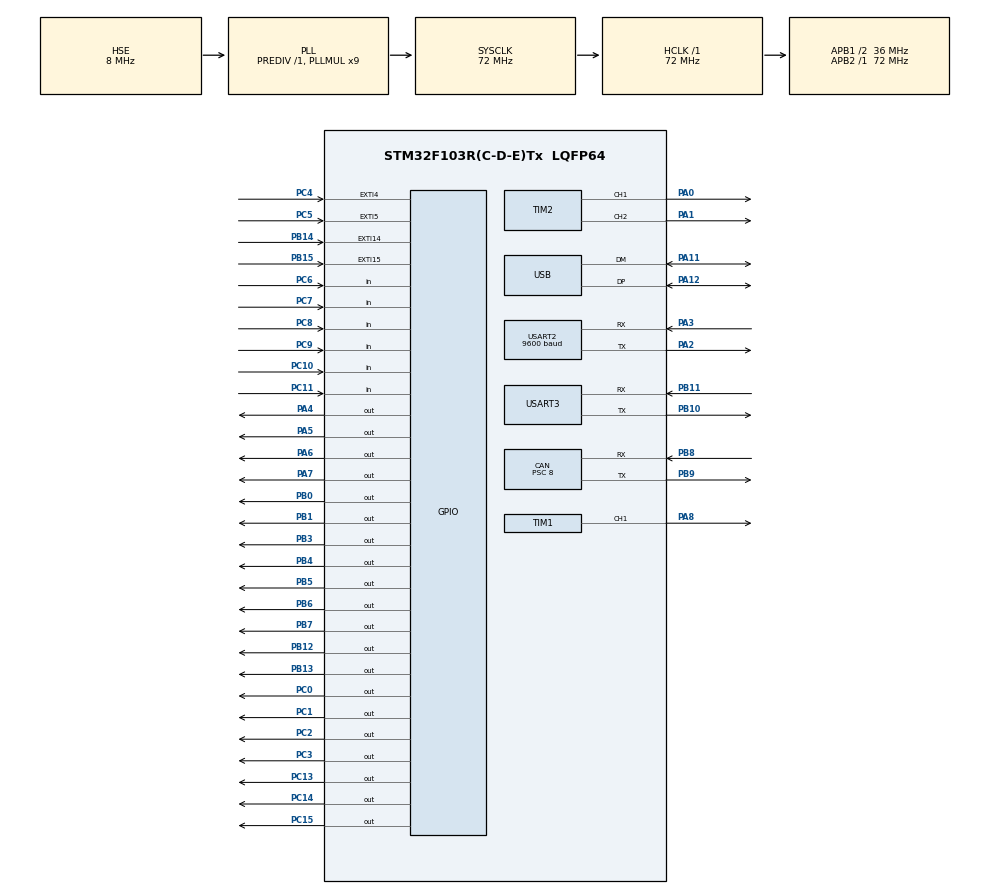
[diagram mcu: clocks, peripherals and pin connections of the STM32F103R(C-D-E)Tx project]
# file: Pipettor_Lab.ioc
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CAN.ABOM=ENABLE
CAN.BS1=CAN_BS1_5TQ
CAN.BS2=CAN_BS2_3TQ
CAN.CalculateBaudRate=500000
CAN.CalculateTimeBit=2000
CAN.CalculateTimeQuantum=222.22222222222223
CAN.Prescaler=8
Dma.Request0=USART3_RX
Dma.Request1=USART2_RX
Dma.USART2_RX.1.Direction=DMA_PERIPH_TO_MEMORY
Dma.USART2_RX.1.Instance=DMA1_Channel6
Dma.USART2_RX.1.MemDataAlignment=DMA_MDATAALIGN_BYTE
Dma.USART2_RX.1.MemInc=DMA_MINC_ENABLE
Dma.USART2_RX.1.Mode=DMA_NORMAL
Dma.USART2_RX.1.PeriphDataAlignment=DMA_PDATAALIGN_BYTE
Dma.USART2_RX.1.PeriphInc=DMA_PINC_DISABLE
Dma.USART2_RX.1.Priority=DMA_PRIORITY_LOW
Dma.USART3_RX.0.Direction=DMA_PERIPH_TO_MEMORY
Dma.USART3_RX.0.Instance=DMA1_Channel3
Dma.USART3_RX.0.MemDataAlignment=DMA_MDATAALIGN_BYTE
Dma.USART3_RX.0.MemInc=DMA_MINC_ENABLE
Dma.USART3_RX.0.Mode=DMA_NORMAL
Dma.USART3_RX.0.PeriphDataAlignment=DMA_PDATAALIGN_BYTE
Dma.USART3_RX.0.PeriphInc=DMA_PINC_DISABLE
Dma.USART3_RX.0.Priority=DMA_PRIORITY_LOW
FREERTOS.Tasks01=StartKeyboardTa,24,128,KeyboardTask,As weak,NULL,Dynamic,NULL,NULL;StartMachineTas,8,512,MachineTask,As weak,NULL,Dynamic,NULL,NULL;StartLCDTask,8,256,LCDTask,As weak,NULL,Dynamic,NULL,NULL;StartMachineCMD,8,512,MachineCMDTask,As weak,NULL,Dynamic,NULL,NULL;StartModuleTask,8,256,ModuleTask,As weak,NULL,Dynamic,NULL,NULL
FREERTOS.configTOTAL_HEAP_SIZE=14336
Mcu.Family=STM32F1
Mcu.Name=STM32F103R(C-D-E)Tx
Mcu.Package=LQFP64
NVIC.CAN1_RX1_IRQn=true\:5\:0\:false\:false\:true\:true\:true\:true\:true
NVIC.DMA1_Channel3_IRQn=true\:5\:0\:false\:false\:true\:true\:false\:true\:true
NVIC.DMA1_Channel6_IRQn=true\:5\:0\:false\:false\:true\:true\:false\:true\:true
NVIC.EXTI15_10_IRQn=true\:5\:0\:false\:false\:true\:true\:true\:true\:true
NVIC.EXTI4_IRQn=true\:5\:0\:false\:false\:true\:true\:true\:true\:true
NVIC.EXTI9_5_IRQn=true\:5\:0\:false\:false\:true\:true\:true\:true\:true
NVIC.PriorityGroup=NVIC_PRIORITYGROUP_4
NVIC.TIM2_IRQn=true\:5\:0\:false\:false\:true\:true\:true\:true\:true
NVIC.TIM4_IRQn=true\:15\:0\:false\:false\:true\:false\:false\:true\:true
NVIC.TimeBase=TIM4_IRQn
NVIC.TimeBaseIP=TIM4
NVIC.USART2_IRQn=true\:5\:0\:false\:false\:true\:true\:true\:true\:true
NVIC.USART3_IRQn=true\:5\:0\:false\:false\:true\:true\:true\:true\:true
PA0-WKUP.Signal=S_TIM2_CH1_ETR
PA1.Signal=S_TIM2_CH2
PA11.Mode=Device
PA11.Signal=USB_DM
PA12.Mode=Device
PA12.Signal=USB_DP
PA13.Mode=Serial_Wire
PA13.Signal=SYS_JTMS-SWDIO
PA14.Mode=Serial_Wire
PA14.Signal=SYS_JTCK-SWCLK
PA2.Mode=Asynchronous
PA2.Signal=USART2_TX
PA3.Mode=Asynchronous
PA3.Signal=USART2_RX
PA4.Signal=GPIO_Output
PA5.Signal=GPIO_Output
PA6.Signal=GPIO_Output
PA7.Signal=GPIO_Output
PA8.GPIO_Speed=GPIO_SPEED_FREQ_HIGH
PA8.Signal=S_TIM1_CH1
PB0.Signal=GPIO_Output
PB1.Signal=GPIO_Output
PB10.Mode=Asynchronous
PB10.Signal=USART3_TX
PB11.Mode=Asynchronous
PB11.Signal=USART3_RX
PB12.PinState=GPIO_PIN_RESET
PB12.Signal=GPIO_Output
PB13.Signal=GPIO_Output
PB14.GPIO_ModeDefaultEXTI=GPIO_MODE_IT_FALLING
PB14.GPIO_PuPd=GPIO_PULLUP
PB14.Signal=GPXTI14
PB15.GPIO_ModeDefaultEXTI=GPIO_MODE_IT_FALLING
PB15.GPIO_PuPd=GPIO_PULLUP
PB15.Signal=GPXTI15
PB3.Signal=GPIO_Output
PB4.Signal=GPIO_Output
PB5.Signal=GPIO_Output
PB6.GPIO_ModeDefaultOutputPP=GPIO_MODE_OUTPUT_OD
PB6.GPIO_PuPd=GPIO_NOPULL
PB6.Signal=GPIO_Output
PB7.GPIO_ModeDefaultOutputPP=GPIO_MODE_OUTPUT_OD
PB7.GPIO_PuPd=GPIO_NOPULL
PB7.Signal=GPIO_Output
PB8.Mode=CAN_Activate
PB8.Signal=CAN_RX
PB9.Mode=CAN_Activate
PB9.Signal=CAN_TX
PC0.GPIO_Speed=GPIO_SPEED_FREQ_HIGH
PC0.Signal=GPIO_Output
PC1.GPIO_Speed=GPIO_SPEED_FREQ_HIGH
PC1.Signal=GPIO_Output
PC10.Signal=GPIO_Input
PC11.Signal=GPIO_Input
PC13-TAMPER-RTC.Signal=GPIO_Output
PC14-OSC32_IN.Signal=GPIO_Output
PC15-OSC32_OUT.Signal=GPIO_Output
PC2.GPIO_Speed=GPIO_SPEED_FREQ_HIGH
PC2.Signal=GPIO_Output
PC3.GPIO_Speed=GPIO_SPEED_FREQ_HIGH
PC3.Signal=GPIO_Output
PC4.GPIO_ModeDefaultEXTI=GPIO_MODE_IT_FALLING
PC4.GPIO_PuPd=GPIO_PULLUP
PC4.Signal=GPXTI4
PC5.GPIO_ModeDefaultEXTI=GPIO_MODE_IT_FALLING
PC5.GPIO_PuPd=GPIO_PULLUP
PC5.Signal=GPXTI5
PC6.Signal=GPIO_Input
PC7.Signal=GPIO_Input
PC8.Signal=GPIO_Input
PC9.Signal=GPIO_Input
PD0-OSC_IN.Mode=HSE-External-Oscillator
PD0-OSC_IN.Signal=RCC_OSC_IN
PD1-OSC_OUT.Mode=HSE-External-Oscillator
PD1-OSC_OUT.Signal=RCC_OSC_OUT
ProjectManager.HeapSize=0x1000
ProjectManager.StackSize=0x2000
ProjectManager.TargetToolchain=CMake
RCC.AHBFreq_Value=72000000
RCC.APB1CLKDivider=RCC_HCLK_DIV2
RCC.APB1Freq_Value=36000000
RCC.APB1TimFreq_Value=72000000
RCC.APB2Freq_Value=72000000
RCC.APB2TimFreq_Value=72000000
RCC.HCLKFreq_Value=72000000
RCC.PLLMUL=RCC_PLL_MUL9
RCC.PLLSourceVirtual=RCC_PLLSOURCE_HSE
RCC.SYSCLKFreq_VALUE=72000000
RCC.SYSCLKSource=RCC_SYSCLKSOURCE_PLLCLK
RCC.USBFreq_Value=48000000
RCC.USBPrescaler=RCC_USBCLKSOURCE_PLL_DIV1_5
SH.S_TIM1_CH1.0=TIM1_CH1,PWM Generation1 CH1
SH.S_TIM2_CH1_ETR.0=TIM2_CH1,PWM Generation1 CH1
SH.S_TIM2_CH2.0=TIM2_CH2,PWM Generation2 CH2
TIM1.AutoReloadPreload=TIM_AUTORELOAD_PRELOAD_ENABLE
TIM1.Channel-PWM\ Generation1\ CH1=TIM_CHANNEL_1
TIM1.Period=250 - 1
TIM1.Prescaler=72 - 1
TIM2.Channel-PWM\ Generation1\ CH1=TIM_CHANNEL_1
TIM2.Channel-PWM\ Generation2\ CH2=TIM_CHANNEL_2
USART2.BaudRate=9600
USART2.VirtualMode=VM_ASYNC
USART3.VirtualMode=VM_ASYNC
VP_FREERTOS_VS_CMSIS_V2.Mode=CMSIS_V2
VP_SYS_VS_tim4.Mode=TIM4
VP_TIM2_VS_ClockSourceINT.Mode=Internal
board=custom

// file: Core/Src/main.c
/* USER CODE BEGIN Header */
/**
  ******************************************************************************
  * @file           : main.c
  * @brief          : Main program body
  ******************************************************************************
  * @attention
  *
  * Copyright (c) 2026 STMicroelectronics.
  * All rights reserved.
  *
  * This software is licensed under terms that can be found in the LICENSE file
  * in the root directory of this software component.
  * If no LICENSE file comes with this software, it is provided AS-IS.
  *
  ******************************************************************************
  */
/* USER CODE END Header */
#include "main.h"
#include "cmsis_os.h"
#include "can.h"
#include "dma.h"
#include "tim.h"
#include "usart.h"
#include "usb.h"
#include "gpio.h"

/* USER CODE BEGIN Includes */
#include "MyTask.h"

/* USER CODE END Includes */

void SystemClock_Config(void);
void MX_FREERTOS_Init(void);

int main(void)
{

  /* MCU Configuration--------------------------------------------------------*/

  /* Reset of all peripherals, Initializes the Flash interface and the Systick. */
  HAL_Init();

  /* Configure the system clock */
  SystemClock_Config();

  /* Initialize all configured peripherals */
  MX_GPIO_Init();
  MX_DMA_Init();
  MX_TIM1_Init();
  MX_CAN_Init();
  MX_USART2_UART_Init();
  MX_USART3_UART_Init();
  MX_TIM2_Init();
  MX_USB_PCD_Init();
  /* USER CODE BEGIN 2 */
  HAL_TIM_PWM_Start(&htim1, TIM_CHANNEL_1);
  // LCD12864_Init();
  // LCD12864_Fill(0xFFU);
  // HAL_Delay(2000U);
  // LCD12864_Clear();
  // LCD12864_WriteString(0U, 0U, "Pipettor Lab");
  // LCD12864_WriteString(1U, 0U, "LCD12864 OK");
  // LCD12864_WriteString(2U, 0U, "PC0 CS  PC1 SID");
  // LCD12864_WriteString(3U, 0U, "PC2 CLK PC3 RST");
  HAL_Delay(1000);
  //全局唯一初始化函数
  AllTaskInit();

  /* USER CODE END 2 */

  /* Init scheduler */
  osKernelInitialize();  /* Call init function for freertos objects (in cmsis_os2.c) */
  MX_FREERTOS_Init();

  /* Start scheduler */
  osKernelStart();

  /* We should never get here as control is now taken by the scheduler */

  /* Infinite loop */
  while (1)
  {

  }
}

void SystemClock_Config(void)
{
  RCC_OscInitTypeDef RCC_OscInitStruct = {0};
  RCC_ClkInitTypeDef RCC_ClkInitStruct = {0};
  RCC_PeriphCLKInitTypeDef PeriphClkInit = {0};

  /** Initializes the RCC Oscillators according to the specified parameters
  * in the RCC_OscInitTypeDef structure.
  */
  RCC_OscInitStruct.OscillatorType = RCC_OSCILLATORTYPE_HSE;
  RCC_OscInitStruct.HSEState = RCC_HSE_ON;
  RCC_OscInitStruct.HSEPredivValue = RCC_HSE_PREDIV_DIV1;
  RCC_OscInitStruct.HSIState = RCC_HSI_ON;
  RCC_OscInitStruct.PLL.PLLState = RCC_PLL_ON;
  RCC_OscInitStruct.PLL.PLLSource = RCC_PLLSOURCE_HSE;
  RCC_OscInitStruct.PLL.PLLMUL = RCC_PLL_MUL9;
  if (HAL_RCC_OscConfig(&RCC_OscInitStruct) != HAL_OK)
  {
    Error_Handler();
  }

  /** Initializes the CPU, AHB and APB buses clocks
  */
  RCC_ClkInitStruct.ClockType = RCC_CLOCKTYPE_HCLK|RCC_CLOCKTYPE_SYSCLK
                              |RCC_CLOCKTYPE_PCLK1|RCC_CLOCKTYPE_PCLK2;
  RCC_ClkInitStruct.SYSCLKSource = RCC_SYSCLKSOURCE_PLLCLK;
  RCC_ClkInitStruct.AHBCLKDivider = RCC_SYSCLK_DIV1;
  RCC_ClkInitStruct.APB1CLKDivider = RCC_HCLK_DIV2;
  RCC_ClkInitStruct.APB2CLKDivider = RCC_HCLK_DIV1;

  if (HAL_RCC_ClockConfig(&RCC_ClkInitStruct, FLASH_LATENCY_2) != HAL_OK)
  {
    Error_Handler();
  }
  PeriphClkInit.PeriphClockSelection = RCC_PERIPHCLK_USB;
  PeriphClkInit.UsbClockSelection = RCC_USBCLKSOURCE_PLL_DIV1_5;
  if (HAL_RCCEx_PeriphCLKConfig(&PeriphClkInit) != HAL_OK)
  {
    Error_Handler();
  }
}

void HAL_TIM_PeriodElapsedCallback(TIM_HandleTypeDef *htim)
{
  if (htim->Instance == TIM4)
  {
    HAL_IncTick();
  }
}

void Error_Handler(void)
{
  __disable_irq();
  while (1)
  {
  }
}

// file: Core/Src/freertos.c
/* USER CODE BEGIN Header */
/**
  ******************************************************************************
  * File Name          : freertos.c
  * Description        : Code for freertos applications
  ******************************************************************************
  * @attention
  *
  * Copyright (c) 2026 STMicroelectronics.
  * All rights reserved.
  *
  * This software is licensed under terms that can be found in the LICENSE file
  * in the root directory of this software component.
  * If no LICENSE file comes with this software, it is provided AS-IS.
  *
  ******************************************************************************
  */
/* USER CODE END Header */

#include "FreeRTOS.h"
#include "task.h"
#include "main.h"
#include "cmsis_os.h"

/* USER CODE BEGIN Includes */
#include "can.h"
#include "tim.h"
#include "usart.h"
/* USER CODE END Includes */

/* USER CODE BEGIN PD */
#define BUZZER_REST_HZ         0U
#define BUZZER_TIMER_HZ        1000000U
#define BUZZER_DUTY_PERCENT    35U
#define BUZZER_GAP_MS          35U
#define PLAYBACK_SPEED_PERCENT 150U
#define PITCH_SHIFT_PERCENT    400U
#define GPIO_TEST_TICK_MS      200U
/* USER CODE END PD */

/* Definitions for StartKeyboardTa */
osThreadId_t StartKeyboardTaHandle;
const osThreadAttr_t StartKeyboardTa_attributes = {
  .name = "StartKeyboardTa",
  .stack_size = 128 * 4,
  .priority = (osPriority_t) osPriorityNormal,
};
/* Definitions for StartMachineTas */
osThreadId_t StartMachineTasHandle;
const osThreadAttr_t StartMachineTas_attributes = {
  .name = "StartMachineTas",
  .stack_size = 512 * 4,
  .priority = (osPriority_t) osPriorityLow,
};
/* Definitions for StartLCDTask */
osThreadId_t StartLCDTaskHandle;
const osThreadAttr_t StartLCDTask_attributes = {
  .name = "StartLCDTask",
  .stack_size = 256 * 4,
  .priority = (osPriority_t) osPriorityLow,
};
/* Definitions for StartMachineCMD */
osThreadId_t StartMachineCMDHandle;
const osThreadAttr_t StartMachineCMD_attributes = {
  .name = "StartMachineCMD",
  .stack_size = 512 * 4,
  .priority = (osPriority_t) osPriorityLow,
};
/* Definitions for StartModuleTask */
osThreadId_t StartModuleTaskHandle;
const osThreadAttr_t StartModuleTask_attributes = {
  .name = "StartModuleTask",
  .stack_size = 256 * 4,
  .priority = (osPriority_t) osPriorityLow,
};

void KeyboardTask(void *argument);
void MachineTask(void *argument);
void LCDTask(void *argument);
void MachineCMDTask(void *argument);
void ModuleTask(void *argument);

void MX_FREERTOS_Init(void); /* (MISRA C 2004 rule 8.1) */

void MX_FREERTOS_Init(void) {

  /* Create the thread(s) */
  /* creation of StartKeyboardTa */
  StartKeyboardTaHandle = osThreadNew(KeyboardTask, NULL, &StartKeyboardTa_attributes);

  /* creation of StartMachineTas */
  StartMachineTasHandle = osThreadNew(MachineTask, NULL, &StartMachineTas_attributes);

  /* creation of StartLCDTask */
  StartLCDTaskHandle = osThreadNew(LCDTask, NULL, &StartLCDTask_attributes);

  /* creation of StartMachineCMD */
  StartMachineCMDHandle = osThreadNew(MachineCMDTask, NULL, &StartMachineCMD_attributes);

  /* creation of StartModuleTask */
  StartModuleTaskHandle = osThreadNew(ModuleTask, NULL, &StartModuleTask_attributes);

}

__weak void KeyboardTask(void *argument)
{
  for(;;)
  {
    osDelay(1);
  }
}

__weak void MachineTask(void *argument)
{
  for(;;)
  {
    osDelay(1);
  }
}

__weak void LCDTask(void *argument)
{
  for(;;)
  {
    osDelay(1);
  }
}

__weak void MachineCMDTask(void *argument)
{
  for(;;)
  {
    osDelay(1);
  }
}

__weak void ModuleTask(void *argument)
{
  for(;;)
  {
    osDelay(1);
  }
}

/* USER CODE BEGIN Application */
#if 0
static void Buzzer_PlaySong(const Note_t *song)
{
  uint32_t i = 0U;

  while (song[i].freqHz != MUSIC_NOTE_END)
  {
    Buzzer_PlayNote(song[i].freqHz, song[i].durationMs);
    osDelay(BUZZER_GAP_MS);
    ++i;
  }
}
static void Buzzer_PlayNote(uint32_t freqHz, uint32_t durationMs)
{
  uint32_t scaledFreqHz;
  uint32_t period;
  uint32_t pulse;
  uint32_t scaledDurationMs;

  scaledDurationMs = (durationMs * 100U) / PLAYBACK_SPEED_PERCENT;

  if (freqHz == BUZZER_REST_HZ)
  {
    Buzzer_Off();
    osDelay(scaledDurationMs);
    return;
  }

  scaledFreqHz = (freqHz * PITCH_SHIFT_PERCENT) / 100U;
  period = BUZZER_TIMER_HZ / scaledFreqHz;
  pulse = (period * BUZZER_DUTY_PERCENT) / 100U;

  if (pulse == 0U)
  {
    pulse = 1U;
  }

  __HAL_TIM_SET_AUTORELOAD(&htim1, period - 1U);
  __HAL_TIM_SET_COMPARE(&htim1, TIM_CHANNEL_1, pulse);
  __HAL_TIM_SET_COUNTER(&htim1, 0U);
  HAL_TIM_GenerateEvent(&htim1, TIM_EVENTSOURCE_UPDATE);
  osDelay(scaledDurationMs);
  Buzzer_Off();
}
#endif

/* USER CODE END Application */
